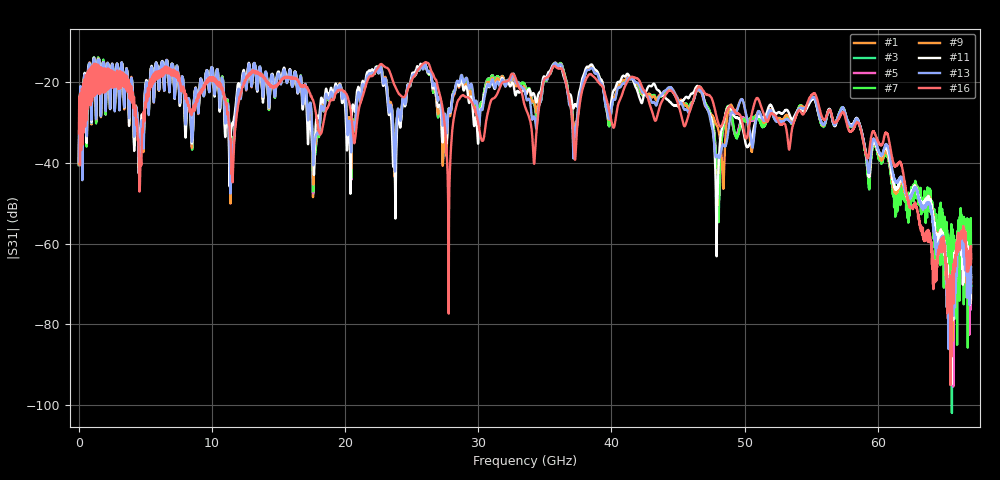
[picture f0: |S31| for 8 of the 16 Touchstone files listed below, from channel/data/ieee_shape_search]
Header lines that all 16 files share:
!Agilent Technologies,N5247A,US51170199,A.09.90.13
!Agilent N5247A: A.09.90.13
!Correction: S11(Full 4 Port(1,2,3,4))
!S12(Full 4 Port(1,2,3,4))
!S13(Full 4 Port(1,2,3,4))
!S14(Full 4 Port(1,2,3,4))
!S21(Full 4 Port(1,2,3,4))
!S22(Full 4 Port(1,2,3,4))
!S23(Full 4 Port(1,2,3,4))
!S24(Full 4 Port(1,2,3,4))
!S31(Full 4 Port(1,2,3,4))
!S32(Full 4 Port(1,2,3,4))
!S33(Full 4 Port(1,2,3,4))
!S34(Full 4 Port(1,2,3,4))
!S41(Full 4 Port(1,2,3,4))
!S42(Full 4 Port(1,2,3,4))
!S43(Full 4 Port(1,2,3,4))
!S44(Full 4 Port(1,2,3,4))
!S4P File: Measurements: <S11,S12,S13,S14>,
!<S21,S22,S23,S24>,
!<S31,S32,S33,S34>,
!<S41,S42,S43,S44>:
# Hz S  dB  R 50
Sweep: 10 MHz to 67 GHz
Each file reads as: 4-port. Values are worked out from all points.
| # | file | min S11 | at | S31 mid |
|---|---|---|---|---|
| 1 | Bch2_a0_7_t.s4p | -45.8 dB | 37.16 GHz | -20.8 dB at 33.51 GHz |
| 2 | Bch2_a2p5_7_t.s4p | -45.6 dB | 37.16 GHz | -20.8 dB at 33.51 GHz |
| 3 | Bch2_a5_7_t.s4p | -45.4 dB | 37.16 GHz | -20.8 dB at 33.51 GHz |
| 4 | Bch2_a7p5_7_t.s4p | -45.9 dB | 4.279 GHz | -20.8 dB at 33.51 GHz |
| 5 | Bch2_a10_7_t.s4p | -52.1 dB | 4.279 GHz | -20.7 dB at 33.51 GHz |
| 6 | Bch2_a12p5_7_t.s4p | -48.9 dB | 3.389 GHz | -20.8 dB at 33.51 GHz |
| 7 | Bch2_a15_7_t.s4p | -55.6 dB | 3.389 GHz | -20.7 dB at 33.51 GHz |
| 8 | Bch2_b2_7_t.s4p | -43.4 dB | 23.03 GHz | -20.1 dB at 33.51 GHz |
| 9 | Bch2_b2p5_7_t.s4p | -50.3 dB | 4.299 GHz | -21.6 dB at 33.51 GHz |
| 10 | Bch2_b4_7_t.s4p | -55.4 dB | 3.979 GHz | -21.2 dB at 33.51 GHz |
| 11 | Bch2_b6_7_t.s4p | -44.5 dB | 34.88 GHz | -22.5 dB at 33.51 GHz |
| 12 | Bch2_b7p5_7_t.s4p | -48.9 dB | 4.429 GHz | -23.3 dB at 33.51 GHz |
| 13 | Bch2_b8_7_t.s4p | -48.2 dB | 3.979 GHz | -22.3 dB at 33.51 GHz |
| 14 | Bch2_b10_7_t.s4p | -45.5 dB | 37.15 GHz | -21.9 dB at 33.51 GHz |
| 15 | Bch2_b15_7_t.s4p | -44.0 dB | 33.97 GHz | -21.1 dB at 33.51 GHz |
| 16 | Bch4_30_t.s4p | -61.1 dB | 4.459 GHz | -26.0 dB at 33.51 GHz |
